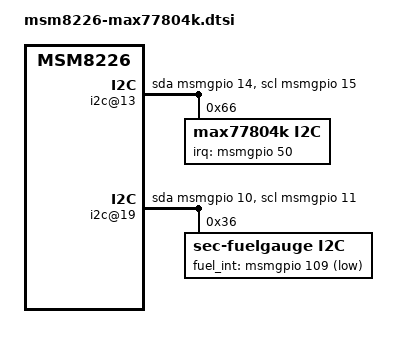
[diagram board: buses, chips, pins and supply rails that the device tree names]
/* Copyright (c) 2012, The Linux Foundation. All rights reserved.
 *
 * This program is free software; you can redistribute it and/or modify
 * it under the terms of the GNU General Public License version 2 and
 * only version 2 as published by the Free Software Foundation.
 *
 * This program is distributed in the hope that it will be useful,
 * but WITHOUT ANY WARRANTY; without even the implied warranty of
 * MERCHANTABILITY or FITNESS FOR A PARTICULAR PURPOSE.  See the
 * GNU General Public License for more details.
 */

&soc {
	i2c@13 {
		cell-index = <13>;
		compatible = "i2c-gpio";
		gpios = <&msmgpio 14 0 /* sda */
			 &msmgpio 15 0 /* scl */
			 >;
		i2c-gpio,delay-us = <2>;
		#address-cells = <1>;
		#size-cells = <0>;
		max77804k@66 {
			compatible = "max77804k,i2c";
			reg = <0x66>;
			interrupt-parent = <&msmgpio>;
			interrupts = <50 0>;
			max77804k,irq-gpio = <&msmgpio 50 0x00>;
			max77804k,irq-base = <500>;
			max77804k,wc-irq-gpio = <0>;
			max77804k,wakeup = <1>;
		};
	};
	i2c@19 {
		cell-index = <19>;
		compatible = "i2c-gpio";
		gpios = <&msmgpio 10 0  /* sda */
			&msmgpio 11 0   /* scl */
			>;
		#address-cells = <1>;
		#size-cells = <0>;
		sec-fuelgauge@36 {
			compatible = "sec-fuelgauge,i2c";
			reg = <0x36>;
			fuelgauge,fuel_int = <&msmgpio 109 0x1>;
			fuelgauge,capacity_max = <1000>;
			fuelgauge,capacity_max_margin = <50>;
			fuelgauge,capacity_min = <0>;
			fuelgauge,capacity_calculation_type = <0x17>;
			fuelgauge,fuel_alert_soc = <1>;
			/* fuelgaguge,repeated_fuelalert; */
		};
	};

};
